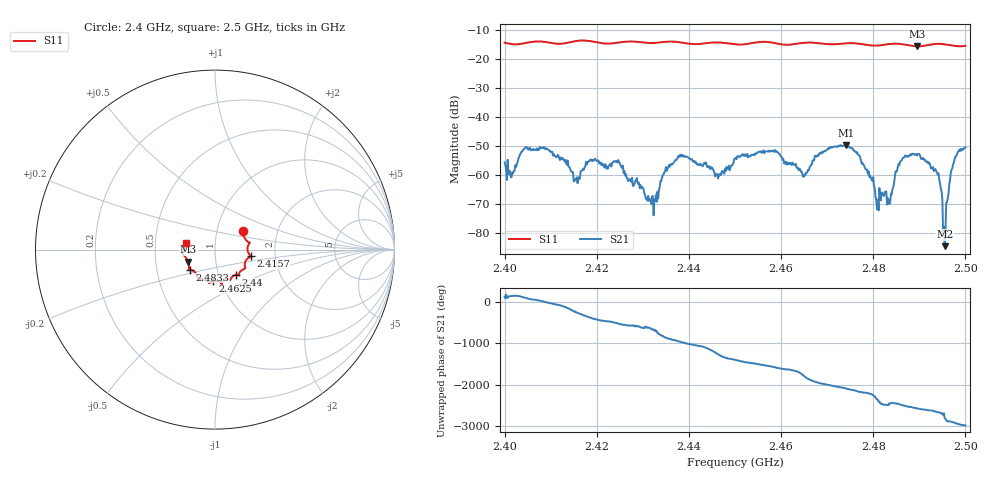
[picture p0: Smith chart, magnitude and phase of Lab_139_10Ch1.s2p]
# Hz S RI R 50
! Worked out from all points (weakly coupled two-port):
!   601 points, 2.4 GHz to 2.5 GHz, reference 50 ohm
!   highest |S21| = -49.75 dB at 2.4742 GHz (marker M1); lowest = -84.5 dB at 2.4955 GHz (marker M2)
!   lowest |S11| = -15.7 dB at 2.4895 GHz (marker M3), VSWR 1.39, Z = 36.7 - j5.12 ohm
!   |S11| at or under -10 dB: start of sweep to end of sweep
!   S12 and S22 are empty: the file has one direction only
!   S11 on the Smith chart (normalised r, x): 2.4 GHz: 1.33, +0.29; 2.4157 GHz: 1.49, -0.12; 2.44 GHz: 1.21, -0.35; 2.4625 GHz: 0.92, -0.34; 2.4833 GHz: 0.74, -0.17; 2.5 GHz: 0.72, +0.06
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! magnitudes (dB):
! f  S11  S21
! 2.4 GHz  -14.5  -55.7
! 2.4082 GHz  -14.1  -50.8
! 2.4157 GHz  -13.9  -60.8
! 2.4167 GHz  -13.7  -58.6
! 2.4243 GHz  -14.5  -55.2
! 2.4318 GHz  -14.6  -69.9
! 2.4333 GHz  -14.4  -68.1
! 2.4352 GHz  -14.2  -58.6
! 2.44 GHz  -14.8  -54.2
! 2.4462 GHz  -14.4  -59.6
! 2.45 GHz  -15.0  -54.2
! 2.4625 GHz  -15.0  -55.8
! 2.4667 GHz  -14.4  -56.4
! 2.4742 GHz  -14.7  -49.8
! 2.4807 GHz  -15.5  -68.9
! 2.4833 GHz  -15.0  -68.6
! 2.486 GHz  -14.9  -55.2
! 2.4895 GHz  -15.7  -53.3
! 2.4938 GHz  -14.9  -59.2
! 2.4955 GHz  -15.0  -84.5
! 2.4973 GHz  -15.5  -56.3
! 2.5 GHz  -15.6  -50.5
